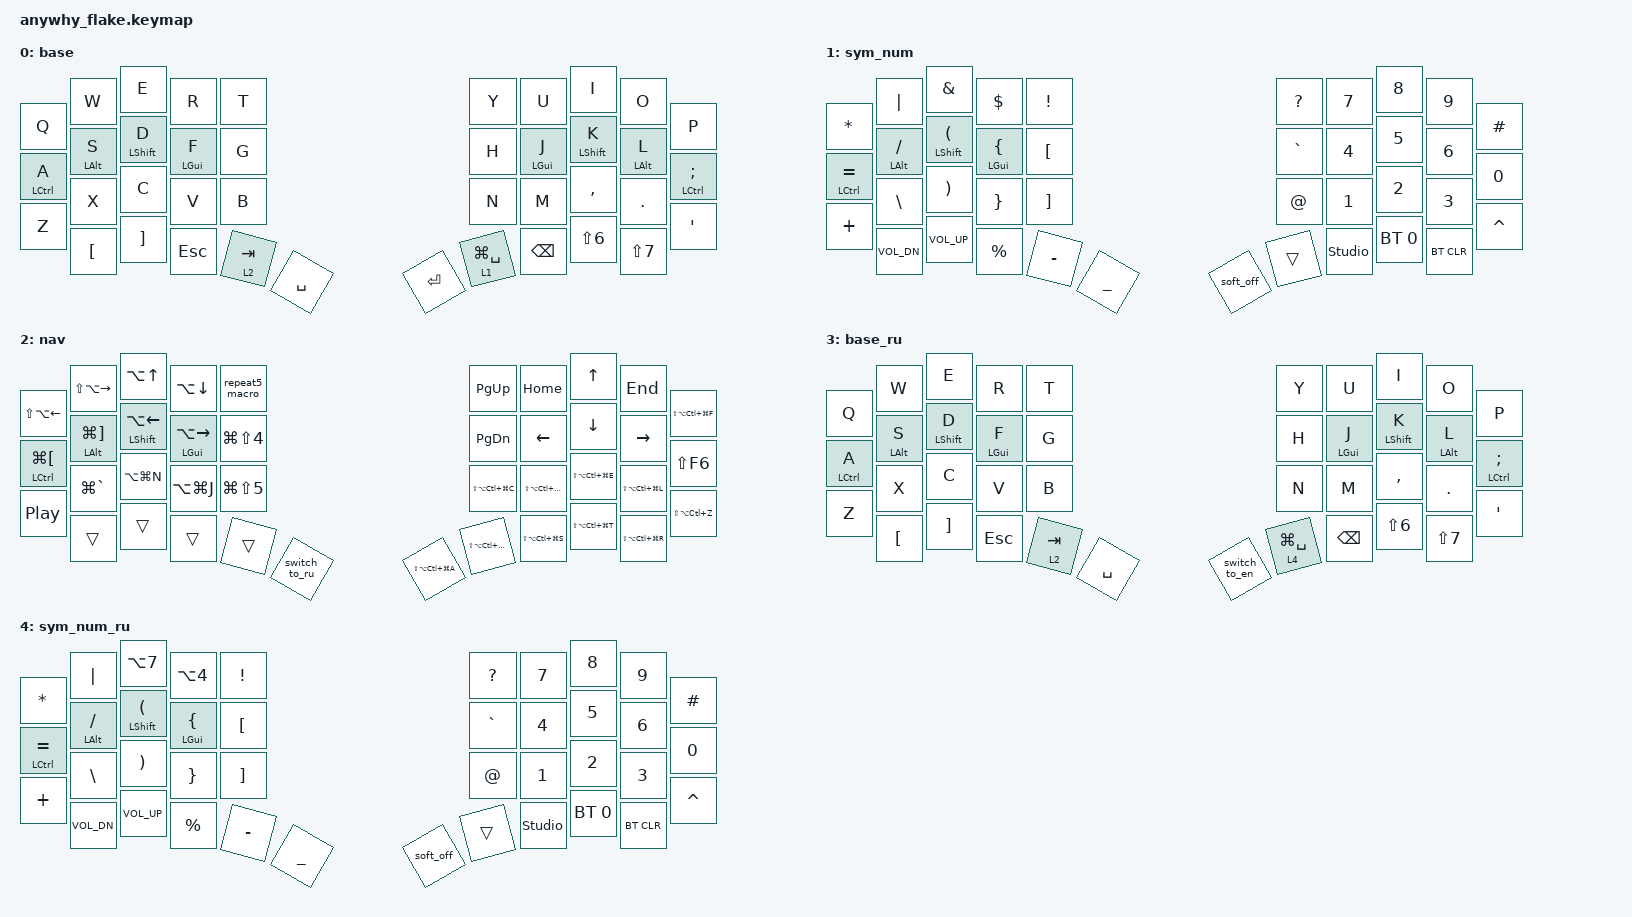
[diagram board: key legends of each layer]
#include <behaviors.dtsi>
#include <dt-bindings/zmk/bt.h>
#include <dt-bindings/zmk/keys.h>

/ {
    combos {
        compatible = "zmk,combos";

        bt_sel_3 {
            bindings = <&bt3>;
            key-positions = <42 30>;
            layers = <2>;
        };

        bt_sel_4 {
            bindings = <&bt4>;
            key-positions = <30 18>;
            layers = <2>;
        };
    };

    macros {
        lm: lm {
            compatible = "zmk,behavior-macro-two-param";
            wait-ms = <0>;
            tap-ms = <0>;
            #binding-cells = <2>;
            bindings =
                <&macro_param_1to1>,
                <&macro_press>,
                <&mo MACRO_PLACEHOLDER &macro_param_2to1>,
                <&macro_press>,
                <&kp MACRO_PLACEHOLDER>,
                <&macro_pause_for_release>,
                <&macro_param_2to1>,
                <&macro_release>,
                <&kp MACRO_PLACEHOLDER &macro_param_1to1>,
                <&macro_release>,
                <&mo MACRO_PLACEHOLDER>;
        };

        repeat5_macro: repeat5_macro {
            compatible = "zmk,behavior-macro";
            #binding-cells = <0>;
            bindings = <&key_repeat &key_repeat &key_repeat &key_repeat &key_repeat>;
            label = "REPEAT5_MACRO";
        };

        switch_to_ru: switch_to_ru {
            compatible = "zmk,behavior-macro";
            label = "SWITCH_TO_RU";
            #binding-cells = <0>;
            bindings = <
                &tog 3
                &kp LG(SPACE)
            >;
        };

        switch_to_en: switch_to_en {
            compatible = "zmk,behavior-macro";
            label = "SWITCH_TO_EN";
            #binding-cells = <0>;
            bindings = <
                &tog 0
                &kp LG(SPACE)
            >;
        };

        bt_clr_0: bt_clr_0 {
            compatible = "zmk,behavior-macro";
            #binding-cells = <0>;
            bindings = <&bt BT_SEL 0 &bt BT_CLR>;
            label = "BT_CLR_0";
        };

        bt_clr_1: bt_clr_1 {
            compatible = "zmk,behavior-macro";
            #binding-cells = <0>;
            bindings = <&bt BT_SEL 1 &bt BT_CLR>;
            label = "BT_CLR_1";
        };

        bt_clr_2: bt_clr_2 {
            compatible = "zmk,behavior-macro";
            #binding-cells = <0>;
            bindings = <&bt BT_SEL 2 &bt BT_CLR>;
            label = "BT_CLR_2";
        };

        bt_clr_3: bt_clr_3 {
            compatible = "zmk,behavior-macro";
            #binding-cells = <0>;
            bindings = <&bt BT_SEL 3 &bt BT_CLR>;
            label = "BT_CLR_3";
        };

        bt_clr_4: bt_clr_4 {
            compatible = "zmk,behavior-macro";
            #binding-cells = <0>;
            bindings = <&bt BT_SEL 4 &bt BT_CLR>;
            label = "BT_CLR_4";
        };
    };

    behaviors {
        hmr: hmr {
            compatible = "zmk,behavior-hold-tap";
            label = "HMR";
            bindings = <&kp>, <&kp>;

            #binding-cells = <2>;
            tapping-term-ms = <200>;
            quick-tap-ms = <175>;
            flavor = "balanced";
            hold-trigger-on-release;
            hold-trigger-key-positions = <0 1 2 3 4 5 12 13 14 15 16 17 24 25 26 27 28 29 36 37 38 39 40 41 42 50 51 52 53 54 55 56 57 58 59 43>;
        };

        hml: hml {
            compatible = "zmk,behavior-hold-tap";
            label = "HML";
            bindings = <&kp>, <&kp>;

            #binding-cells = <2>;
            tapping-term-ms = <200>;
            quick-tap-ms = <175>;
            flavor = "balanced";
            hold-trigger-on-release;
            hold-trigger-key-positions = <6 7 8 9 10 11 18 19 20 21 22 23 30 31 32 33 34 35 44 45 46 47 48 49 55 56 57 58 59 43 42 50 51 52 53 54>;
        };

        bt0: bt0 {
            compatible = "zmk,behavior-mod-morph";
            label = "BT0";
            bindings = <&bt BT_SEL 0>, <&bt_clr_0>;

            #binding-cells = <0>;
            mods = <(MOD_LSFT|MOD_RSFT)>;
        };

        bt1: bt1 {
            compatible = "zmk,behavior-mod-morph";
            label = "BT1";
            bindings = <&bt BT_SEL 1>, <&bt_clr_1>;

            #binding-cells = <0>;
            mods = <(MOD_LSFT|MOD_RSFT)>;
        };

        bt2: bt2 {
            compatible = "zmk,behavior-mod-morph";
            label = "BT2";
            bindings = <&bt BT_SEL 2>, <&bt_clr_2>;

            #binding-cells = <0>;
            mods = <(MOD_LSFT|MOD_RSFT)>;
        };

        bt3: bt3 {
            compatible = "zmk,behavior-mod-morph";
            label = "BT3";
            bindings = <&bt BT_SEL 3>, <&bt_clr_3>;

            #binding-cells = <0>;
            mods = <(MOD_LSFT|MOD_RSFT)>;
        };

        bt4: bt4 {
            compatible = "zmk,behavior-mod-morph";
            label = "BT4";
            bindings = <&bt BT_SEL 4>, <&bt_clr_4>;

            #binding-cells = <0>;
            mods = <(MOD_LSFT|MOD_RSFT)>;
        };
    };

    keymap {
        compatible = "zmk,keymap";

        base {
            bindings = <
  &kp Q             &kp W            &kp E              &kp R        &kp T        &kp Y      &kp U            &kp I              &kp O             &kp P
  &hml LCTRL A      &hml LEFT_ALT S  &hml LEFT_SHIFT D  &hml LGUI F  &kp G        &kp H      &hmr LGUI J      &hmr LEFT_SHIFT K  &hmr LEFT_ALT L   &hmr LCTRL SEMI
  &kp Z             &kp X            &kp C              &kp V        &kp B        &kp N      &kp M            &kp COMMA          &kp DOT           &kp SQT
  &kp LEFT_BRACKET  &kp RBKT         &kp ESCAPE         &lt 2 TAB    &kp SPACE    &kp ENTER  &lt 1 LG(SPACE)  &kp BACKSPACE      &kp LS(NUMBER_6)  &kp LS(NUMBER_7)
            >;
        };

        sym_num {
            bindings = <
  &kp ASTERISK      &kp PIPE             &kp AMPERSAND                &kp DOLLAR            &kp EXCLAMATION      &kp QUESTION  &kp N7  &kp N8          &kp N9        &kp POUND
  &hml LCTRL EQUAL  &hml LEFT_ALT SLASH  &hml LSHFT LEFT_PARENTHESIS  &hml LGUI LEFT_BRACE  &kp LEFT_BRACKET     &kp GRAVE     &kp N4  &kp N5          &kp N6        &kp N0
  &kp PLUS          &kp BACKSLASH        &kp RIGHT_PARENTHESIS        &kp RIGHT_BRACE       &kp RIGHT_BRACKET    &kp AT        &kp N1  &kp N2          &kp N3        &kp CARET
  &kp C_VOL_DN      &kp C_VOL_UP         &kp PERCENT                  &kp MINUS             &kp UNDERSCORE       &soft_off     &trans  &studio_unlock  &bt BT_SEL 0  &bt BT_CLR
            >;
        };

        nav {
            bindings = <
  &kp LS(LA(LEFT_ARROW))       &kp LS(LA(RIGHT_ARROW))      &kp LA(UP_ARROW)            &kp LA(DOWN_ARROW)         &repeat5_macro    &kp PAGE_UP            &kp HOME               &kp UP                 &kp END                &kp LS(LA(LC(LG(F))))
  &hml LCTRL LG(LEFT_BRACKET)  &hml LALT LG(RIGHT_BRACKET)  &hml LSHIFT LA(LEFT_ARROW)  &hml LGUI LA(RIGHT_ARROW)  &kp LG(LS(N4))    &kp PG_DN              &kp LEFT               &kp DOWN               &kp RIGHT              &kp LS(F6)
  &kp C_PP                     &kp LG(GRAVE)                &kp LA(LG(N))               &kp LA(LG(J))              &kp LG(LS(N5))    &kp LS(LA(LC(LG(C))))  &kp LS(LA(LC(LG(M))))  &kp LS(LA(LC(LG(E))))  &kp LS(LA(LC(LG(L))))  &kp LS(LA(LC(Z)))
  &trans                       &trans                       &trans                      &trans                     &switch_to_ru            &kp LS(LA(LC(LG(A))))  &kp LS(LA(LC(LG(W))))  &kp LS(LA(LC(LG(S))))  &kp LS(LA(LC(LG(T))))  &kp LS(LA(LC(LG(R))))
            >;
        };

        base_ru {
            bindings = <
  &kp Q             &kp W            &kp E              &kp R        &kp T        &kp Y      &kp U            &kp I              &kp O             &kp P
  &hml LCTRL A      &hml LEFT_ALT S  &hml LEFT_SHIFT D  &hml LGUI F  &kp G        &kp H      &hmr LGUI J      &hmr LEFT_SHIFT K  &hmr LEFT_ALT L   &hmr LCTRL SEMI
  &kp Z             &kp X            &kp C              &kp V        &kp B        &kp N      &kp M            &kp COMMA          &kp DOT           &kp SQT
  &kp LEFT_BRACKET  &kp RBKT         &kp ESCAPE         &lt 2 TAB    &kp SPACE    &switch_to_en  &lt 4 LG(SPACE)  &kp BACKSPACE      &kp LS(NUMBER_6)  &kp LS(NUMBER_7)
            >;
        };

        sym_num_ru {
            bindings = <
  &kp ASTERISK      &kp PIPE             &kp LA(NUMBER_7)                &kp LA(NUMBER_4)            &kp EXCLAMATION      &kp QUESTION  &kp N7  &kp N8          &kp N9        &kp POUND
  &hml LCTRL EQUAL  &hml LEFT_ALT SLASH  &hml LSHFT LEFT_PARENTHESIS  &hml LGUI LEFT_BRACE  &kp LEFT_BRACKET     &kp GRAVE     &kp N4  &kp N5          &kp N6        &kp N0
  &kp PLUS          &kp BACKSLASH        &kp RIGHT_PARENTHESIS        &kp RIGHT_BRACE       &kp RIGHT_BRACKET    &kp AT        &kp N1  &kp N2          &kp N3        &kp CARET
  &kp C_VOL_DN      &kp C_VOL_UP         &kp PERCENT                  &kp MINUS             &kp UNDERSCORE       &soft_off     &trans  &studio_unlock  &bt BT_SEL 0  &bt BT_CLR
            >;
        };
    };
};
